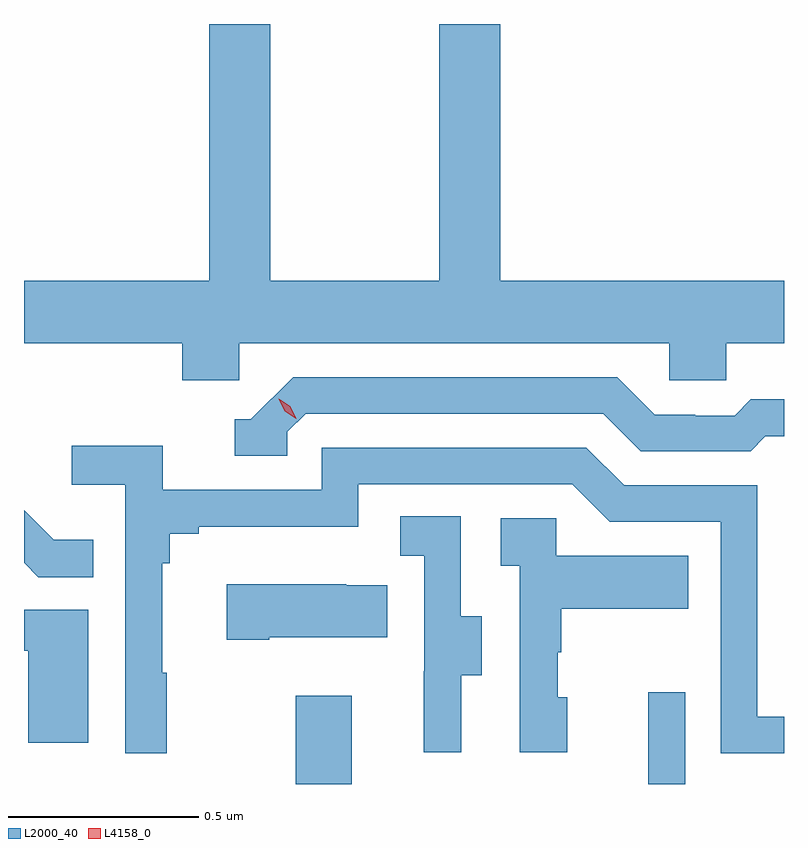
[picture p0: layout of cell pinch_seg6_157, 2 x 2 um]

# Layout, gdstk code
import gdstk
lib = gdstk.Library(unit=1e-6, precision=1e-09)
def R(c, l, rs):  # rectangles x0, y0, x1, y1
    for r in rs: c.add(gdstk.rectangle(r[:2], r[2:], *l))
def P(c, l, *ps):  # polygons
    for p in ps: c.add(gdstk.Polygon(p, *l))
L2000_40 = (2000, 40)
L4158_0 = (4158, 0)

pinch_seg6_157 = lib.new_cell('pinch_seg6_157')
R(pinch_seg6_157, L2000_40, [(997.882,928.86,998.029,929.092), (998.81,928.86,998.907,929.101)])
P(pinch_seg6_157, L2000_40, [(998.26,930.86),(998.26,930.184),(997.815,930.184),(997.815,930.86),(997.655,930.86),(997.655,930.184),(997.167,930.184),(997.167,930.02),(997.583,930.02),(997.583,929.922),(997.734,929.922),(997.734,930.02),(998.865,930.02),(998.865,929.922),(999.015,929.922),(999.015,930.02),(999.167,930.02),(999.167,930.184),(998.42,930.184),(998.42,930.86)],
  [(997.86,929.787),(997.908,929.835),(998.691,929.835),(998.79,929.736),(999.079,929.736),(999.118,929.775),(999.167,929.775),(999.167,929.872),(999.079,929.872),(999.037,929.829),(998.934,929.829),(998.934,929.832),(998.827,929.832),(998.728,929.931),(997.875,929.931),(997.764,929.82),(997.721,929.82),(997.721,929.724),(997.86,929.724)],
  [(997.543,929.153),(997.531,929.153),(997.531,929.441),(997.55,929.441),(997.55,929.518),(997.627,929.518),(997.627,929.537),(998.046,929.537),(998.046,929.649),(998.61,929.649),(998.709,929.55),(999,929.55),(999,928.941),(999.167,928.941),(999.167,929.037),(999.096,929.037),(999.096,929.646),(998.746,929.646),(998.647,929.745),(997.95,929.745),(997.95,929.634),(997.532,929.634),(997.532,929.75),(997.293,929.75),(997.293,929.648),(997.434,929.648),(997.434,928.941),(997.543,928.941)],
  [(997.349,929.503),(997.245,929.503),(997.167,929.581),(997.167,929.442),(997.205,929.404),(997.349,929.404)],
  [(998.317,929.146),(998.371,929.146),(998.371,929.301),(998.316,929.301),(998.316,929.564),(998.157,929.564),(998.157,929.461),(998.22,929.461),(998.22,929.157),(998.219,929.157),(998.219,928.944),(998.317,928.944)],
  [(998.596,929.088),(998.571,929.088),(998.571,929.207),(998.581,929.207),(998.581,929.321),(998.915,929.321),(998.915,929.461),(998.568,929.461),(998.568,929.559),(998.421,929.559),(998.421,929.435),(998.472,929.435),(998.472,928.944),(998.596,928.944)],
  [(997.813,929.246),(998.123,929.246),(998.123,929.383),(998.015,929.383),(998.015,929.386),(997.701,929.386),(997.701,929.239),(997.813,929.239)],
  [(997.336,929.319),(997.167,929.319),(997.167,929.211),(997.178,929.211),(997.178,928.968),(997.336,928.968)])
P(pinch_seg6_157, L4158_0, [(997.884,929.821),(997.853,929.841),(997.838,929.874),(997.838,929.874),(997.838,929.874),(997.868,929.854),(997.884,929.822),(997.884,929.821)])

lib.write_gds('pinch_seg6_157.gds')
